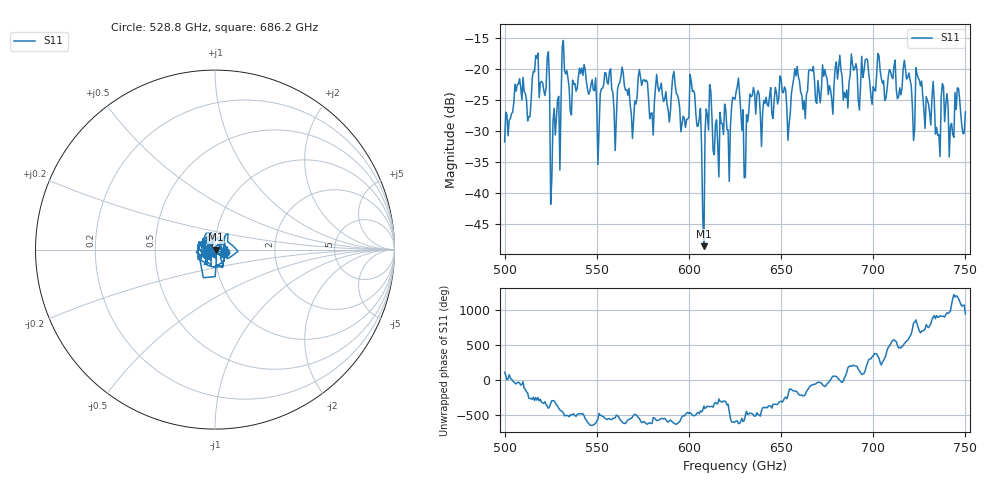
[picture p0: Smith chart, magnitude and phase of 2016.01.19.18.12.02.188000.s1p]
!Created with skrf (http://scikit-rf.org).
# GHz S RI R 50.0
!freq ReS11 ImS11
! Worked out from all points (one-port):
!   401 points, 500 GHz to 750 GHz, reference 50 ohm
!   lowest |S11| = -48.6 dB at 608.1 GHz (marker M1), VSWR 1.01, Z = 50.4 - j0.0911 ohm
!   |S11| at or under -10 dB: start of sweep to end of sweep
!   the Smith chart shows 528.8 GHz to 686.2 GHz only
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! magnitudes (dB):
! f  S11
! 500 GHz  -31.8
! 506.9 GHz  -22.5
! 513.1 GHz  -27.7
! 516.9 GHz  -17.9
! 523.1 GHz  -18.1
! 526.2 GHz  -28.5
! 531.2 GHz  -16.5
! 542.5 GHz  -21.0
! 551.2 GHz  -29.8
! 562.5 GHz  -22.2
! 569.4 GHz  -31.2
! 573.8 GHz  -21.4
! 580 GHz  -27.1
! 593.8 GHz  -24.2
! 596.9 GHz  -27.6
! 601.9 GHz  -23.6
! 608.1 GHz  -48.6
! 610.6 GHz  -29.9
! 615 GHz  -28.2
! 625 GHz  -24.9
! 630 GHz  -37.6
! 634.4 GHz  -24.3
! 656.2 GHz  -22.7
! 687.5 GHz  -21.0
! 718.8 GHz  -21.3
! 735 GHz  -30.7
! 738.8 GHz  -28.5
! 750 GHz  -26.9
